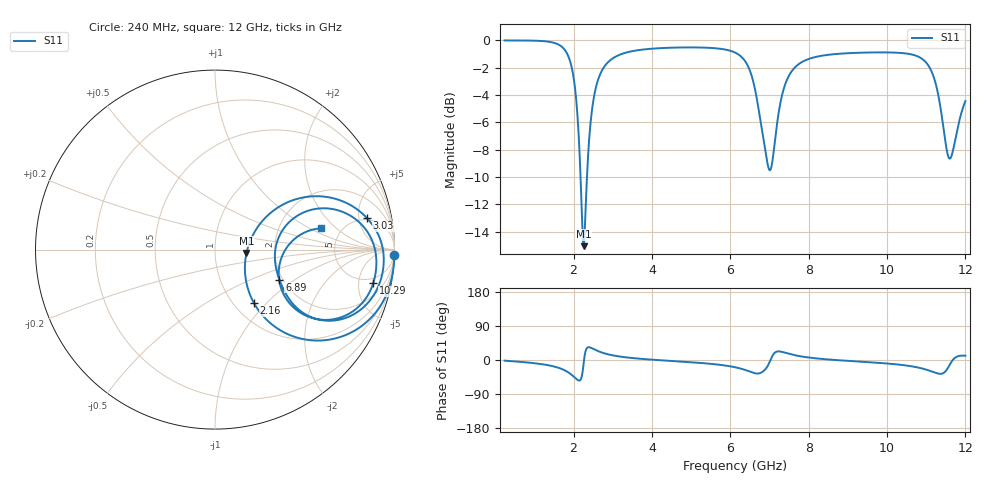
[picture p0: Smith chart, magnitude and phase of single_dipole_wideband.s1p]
! Touchstone file exported from HFSS 2019.3.0
!  File:  E:/matching network/HFSS/Ding_project/single_dipole/dipole1.aedt
!  Generated:  9:12:06 AM  May 17, 2020
!  Design:  HFSSDesign1
!  Project:  dipole1
!  Setup:  Setup1
!  Solution:  Sweep
! Variables:
!  dipole_length = 62.5mm
!  gap = 0.625mm
!  spacing = 12.5mm
!  thick = 0.125mm
!  wavelength = 125mm
# GHZ S MA R 50.000000
! Modal data exported
! Port[1] = 1:1
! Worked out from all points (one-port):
!   1177 points, 240 MHz to 12 GHz, reference 50 ohm
!   lowest |S11| = -15.1 dB at 2.26 GHz (marker M1), VSWR 1.43, Z = 71.2 - j2.82 ohm
!   |S11| at or under -10 dB: 2.178 GHz to 2.342 GHz (163.7 MHz wide, 7.24 % of centre)
!   S11 on the Smith chart (normalised r, x): 240 MHz: 0, -66; 2.16 GHz: 1.23, -0.85; 3.03 GHz: 4.67, +6.49; 6.89 GHz: 1.92, -0.76; 10.29 GHz: 3.81, -7.62; 12 GHz: 3.49, +1.29
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0.24  1 -1.7
! Gamma ! 0 0
! Port Impedance50 0
1.16  0.9959 -10.6
1.71  0.9454 -24.1
2  0.7324 -43.6
2.16  0.3674 -53.9
2.26  0.1764 -6.2
2.38  0.3984 33.8
2.52  0.6211 28.6
2.73  0.7788 19.4
3.03  0.8652 11.7
3.18  0.8869 9.1
4.65  0.9421 -3.5
6.12  0.9032 -19.0
6.58  0.7123 -33.5
6.89  0.3956 -25.0
7.03  0.3373 1.2
7.22  0.5272 22.7
7.59  0.779 14.0
8.1  0.8644 5.3
9.06  0.8989 -2.7
10.29  0.9012 -12.0
10.53  0.8942 -15.1
10.95  0.8438 -23.9
11.26  0.6787 -34.6
11.45  0.4669 -33.8
11.59  0.3696 -14.3
11.78  0.4616 8.7
12  0.5999 11.4
